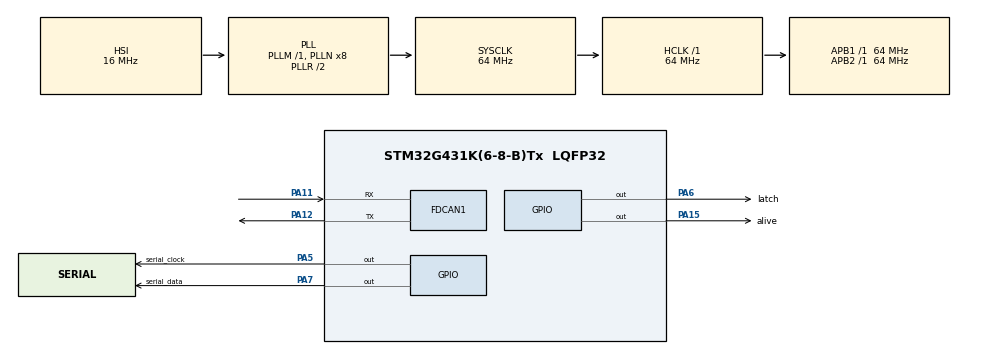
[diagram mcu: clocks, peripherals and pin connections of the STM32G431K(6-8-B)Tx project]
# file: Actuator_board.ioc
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FDCAN1.CalculateBaudRateNominal=500000
FDCAN1.CalculateTimeBitNominal=2000
FDCAN1.CalculateTimeQuantumNominal=125.0
FDCAN1.ClockDivider=FDCAN_CLOCK_DIV1
FDCAN1.NominalPrescaler=8
FDCAN1.NominalTimeSeg1=12
FDCAN1.NominalTimeSeg2=3
Mcu.Family=STM32G4
Mcu.Name=STM32G431K(6-8-B)Tx
Mcu.Package=LQFP32
NVIC.FDCAN1_IT0_IRQn=true\:0\:0\:false\:false\:true\:true\:true\:true
NVIC.PriorityGroup=NVIC_PRIORITYGROUP_4
PA11.Mode=FDCAN_Activate
PA11.Signal=FDCAN1_RX
PA12.Mode=FDCAN_Activate
PA12.Signal=FDCAN1_TX
PA13.Mode=Serial_Wire
PA13.Signal=SYS_JTMS-SWDIO
PA14.Mode=Serial_Wire
PA14.Signal=SYS_JTCK-SWCLK
PA15.GPIO_Label=alive
PA15.PinState=GPIO_PIN_SET
PA15.Signal=GPIO_Output
PA5.GPIO_Label=serial_clock
PA5.Signal=GPIO_Output
PA6.GPIO_Label=latch
PA6.Signal=GPIO_Output
PA7.GPIO_Label=serial_data
PA7.GPIO_Speed=GPIO_SPEED_FREQ_LOW
PA7.PinState=GPIO_PIN_RESET
PA7.Signal=GPIO_Output
ProjectManager.HeapSize=0x200
ProjectManager.StackSize=0x400
ProjectManager.TargetToolchain=STM32CubeIDE
RCC.ADC12Freq_Value=64000000
RCC.AHBFreq_Value=64000000
RCC.APB1Freq_Value=64000000
RCC.APB1TimFreq_Value=64000000
RCC.APB2Freq_Value=64000000
RCC.APB2TimFreq_Value=64000000
RCC.CortexFreq_Value=64000000
RCC.EXTERNAL_CLOCK_VALUE=12288000
RCC.HCLKFreq_Value=64000000
RCC.HSE_VALUE=8000000
RCC.HSI48_VALUE=48000000
RCC.HSI_VALUE=16000000
RCC.LSE_VALUE=32768
RCC.SYSCLKFreq_VALUE=64000000
RCC.SYSCLKSource=RCC_SYSCLKSOURCE_PLLCLK
RCC.USBFreq_Value=64000000
RCC.VCOOutputFreq_Value=128000000
VP_SYS_VS_DBSignals.Mode=DisableDeadBatterySignals
board=custom

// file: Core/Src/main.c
/* USER CODE BEGIN Header */
/**
  ******************************************************************************
  * @file           : main.c
  * @brief          : Main program body
  ******************************************************************************
  * @attention
  *
  * Copyright (c) 2026 STMicroelectronics.
  * All rights reserved.
  *
  * This software is licensed under terms that can be found in the LICENSE file
  * in the root directory of this software component.
  * If no LICENSE file comes with this software, it is provided AS-IS.
  *
  ******************************************************************************
  */
/* USER CODE END Header */
#include "main.h"

/* USER CODE BEGIN Includes */

#include <stdbool.h>
#include "actuator_control.h"
#include "can.h"
#include "test.h"

/* USER CODE END Includes */

/* USER CODE BEGIN PD */

#define ALIVE_PIN_PERIOD 500

/* USER CODE END PD */

FDCAN_HandleTypeDef hfdcan1;

/* USER CODE BEGIN PV */
volatile uint32_t can_rx_msg = 0;
volatile bool new_can_msg = false;
//debug var
volatile uint32_t counter = 0;
volatile uint32_t can_counter = 0;

/* USER CODE END PV */

void SystemClock_Config(void);
static void MX_GPIO_Init(void);
static void MX_FDCAN1_Init(void);

/* USER CODE BEGIN 0 */

void DWT_Init(void)
{
    CoreDebug->DEMCR |= CoreDebug_DEMCR_TRCENA_Msk;
    DWT->CYCCNT = 0;
    DWT->CTRL |= DWT_CTRL_CYCCNTENA_Msk;
}

void delay_us(uint32_t us)
{
    uint32_t start = DWT->CYCCNT;
    uint32_t cycles = us * (SystemCoreClock / 1000000U);

    while ((uint32_t)(DWT->CYCCNT - start) < cycles);

}

/* USER CODE END 0 */

int main(void)
{

  /* MCU Configuration--------------------------------------------------------*/

  /* Reset of all peripherals, Initializes the Flash interface and the Systick. */
  HAL_Init();

  /* Configure the system clock */
  SystemClock_Config();

  /* Initialize all configured peripherals */
  MX_GPIO_Init();
  MX_FDCAN1_Init();
  /* USER CODE BEGIN 2 */

  HAL_GPIO_WritePin(serial_clock_GPIO_Port, serial_clock_Pin, GPIO_PIN_RESET);
  HAL_GPIO_WritePin(serial_data_GPIO_Port, serial_data_Pin, GPIO_PIN_RESET);
  HAL_GPIO_WritePin(latch_GPIO_Port, latch_Pin, GPIO_PIN_RESET);
  HAL_GPIO_WritePin(alive_GPIO_Port, alive_Pin, GPIO_PIN_SET);

  DWT_Init();
  can_init();

  uint32_t start_period = HAL_GetTick();
  uint32_t local_state = 0;

  /* USER CODE END 2 */

  /* Infinite loop */
  /* USER CODE BEGIN WHILE */
  while (1)
  {
	  if ((HAL_GetTick() - start_period) >= ALIVE_PIN_PERIOD) {
		  start_period = HAL_GetTick();
		  HAL_GPIO_TogglePin(alive_GPIO_Port, alive_Pin);
	  }

	  if (new_can_msg) {
		  new_can_msg = false;
		  can_counter++;
		  local_state = can_rx_msg;
		  set_actuator_state(local_state);
	  }

//	  test1();
//	  test2();
//	  test3();

    /* USER CODE END WHILE */

  }
}

void SystemClock_Config(void)
{
  RCC_OscInitTypeDef RCC_OscInitStruct = {0};
  RCC_ClkInitTypeDef RCC_ClkInitStruct = {0};

  /** Configure the main internal regulator output voltage
  */
  HAL_PWREx_ControlVoltageScaling(PWR_REGULATOR_VOLTAGE_SCALE1);

  /** Initializes the RCC Oscillators according to the specified parameters
  * in the RCC_OscInitTypeDef structure.
  */
  RCC_OscInitStruct.OscillatorType = RCC_OSCILLATORTYPE_HSI;
  RCC_OscInitStruct.HSIState = RCC_HSI_ON;
  RCC_OscInitStruct.HSICalibrationValue = RCC_HSICALIBRATION_DEFAULT;
  RCC_OscInitStruct.PLL.PLLState = RCC_PLL_ON;
  RCC_OscInitStruct.PLL.PLLSource = RCC_PLLSOURCE_HSI;
  RCC_OscInitStruct.PLL.PLLM = RCC_PLLM_DIV1;
  RCC_OscInitStruct.PLL.PLLN = 8;
  RCC_OscInitStruct.PLL.PLLP = RCC_PLLP_DIV2;
  RCC_OscInitStruct.PLL.PLLQ = RCC_PLLQ_DIV2;
  RCC_OscInitStruct.PLL.PLLR = RCC_PLLR_DIV2;
  if (HAL_RCC_OscConfig(&RCC_OscInitStruct) != HAL_OK)
  {
    Error_Handler();
  }

  /** Initializes the CPU, AHB and APB buses clocks
  */
  RCC_ClkInitStruct.ClockType = RCC_CLOCKTYPE_HCLK|RCC_CLOCKTYPE_SYSCLK
                              |RCC_CLOCKTYPE_PCLK1|RCC_CLOCKTYPE_PCLK2;
  RCC_ClkInitStruct.SYSCLKSource = RCC_SYSCLKSOURCE_PLLCLK;
  RCC_ClkInitStruct.AHBCLKDivider = RCC_SYSCLK_DIV1;
  RCC_ClkInitStruct.APB1CLKDivider = RCC_HCLK_DIV1;
  RCC_ClkInitStruct.APB2CLKDivider = RCC_HCLK_DIV1;

  if (HAL_RCC_ClockConfig(&RCC_ClkInitStruct, FLASH_LATENCY_2) != HAL_OK)
  {
    Error_Handler();
  }
}

static void MX_FDCAN1_Init(void)
{

  hfdcan1.Instance = FDCAN1;
  hfdcan1.Init.ClockDivider = FDCAN_CLOCK_DIV1;
  hfdcan1.Init.FrameFormat = FDCAN_FRAME_CLASSIC;
  hfdcan1.Init.Mode = FDCAN_MODE_NORMAL;
  hfdcan1.Init.AutoRetransmission = DISABLE;
  hfdcan1.Init.TransmitPause = DISABLE;
  hfdcan1.Init.ProtocolException = DISABLE;
  hfdcan1.Init.NominalPrescaler = 8;
  hfdcan1.Init.NominalSyncJumpWidth = 1;
  hfdcan1.Init.NominalTimeSeg1 = 12;
  hfdcan1.Init.NominalTimeSeg2 = 3;
  hfdcan1.Init.DataPrescaler = 1;
  hfdcan1.Init.DataSyncJumpWidth = 1;
  hfdcan1.Init.DataTimeSeg1 = 1;
  hfdcan1.Init.DataTimeSeg2 = 1;
  hfdcan1.Init.StdFiltersNbr = 0;
  hfdcan1.Init.ExtFiltersNbr = 0;
  hfdcan1.Init.TxFifoQueueMode = FDCAN_TX_FIFO_OPERATION;
  if (HAL_FDCAN_Init(&hfdcan1) != HAL_OK)
  {
    Error_Handler();
  }

}

static void MX_GPIO_Init(void)
{
  GPIO_InitTypeDef GPIO_InitStruct = {0};

  /* GPIO Ports Clock Enable */
  __HAL_RCC_GPIOA_CLK_ENABLE();

  /*Configure GPIO pin Output Level */
  HAL_GPIO_WritePin(GPIOA, serial_clock_Pin|latch_Pin|serial_data_Pin, GPIO_PIN_RESET);

  /*Configure GPIO pin Output Level */
  HAL_GPIO_WritePin(alive_GPIO_Port, alive_Pin, GPIO_PIN_SET);

  /*Configure GPIO pins : serial_clock_Pin latch_Pin serial_data_Pin alive_Pin */
  GPIO_InitStruct.Pin = serial_clock_Pin|latch_Pin|serial_data_Pin|alive_Pin;
  GPIO_InitStruct.Mode = GPIO_MODE_OUTPUT_PP;
  GPIO_InitStruct.Pull = GPIO_NOPULL;
  GPIO_InitStruct.Speed = GPIO_SPEED_FREQ_LOW;
  HAL_GPIO_Init(GPIOA, &GPIO_InitStruct);

}

void Error_Handler(void)
{
  __disable_irq();
  while (1)
  {
  }
}
